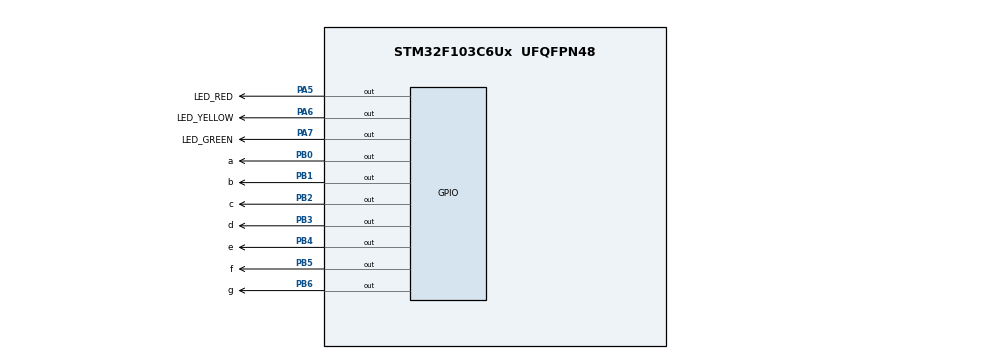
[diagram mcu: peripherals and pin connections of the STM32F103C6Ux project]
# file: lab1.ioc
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Mcu.Family=STM32F1
Mcu.Name=STM32F103C6Ux
Mcu.Package=UFQFPN48
NVIC.PriorityGroup=NVIC_PRIORITYGROUP_4
PA5.GPIO_Label=LED_RED
PA5.Signal=GPIO_Output
PA6.GPIO_Label=LED_YELLOW
PA6.Signal=GPIO_Output
PA7.GPIO_Label=LED_GREEN
PA7.Signal=GPIO_Output
PB0.GPIO_Label=a
PB0.Signal=GPIO_Output
PB1.GPIO_Label=b
PB1.Signal=GPIO_Output
PB2.GPIO_Label=c
PB2.Signal=GPIO_Output
PB3.GPIO_Label=d
PB3.Signal=GPIO_Output
PB4.GPIO_Label=e
PB4.Signal=GPIO_Output
PB5.GPIO_Label=f
PB5.Signal=GPIO_Output
PB6.GPIO_Label=g
PB6.Signal=GPIO_Output
ProjectManager.HeapSize=0x200
ProjectManager.StackSize=0x400
ProjectManager.TargetToolchain=STM32CubeIDE
RCC.APB1Freq_Value=8000000
RCC.APB2Freq_Value=8000000
VP_SYS_VS_ND.Mode=No_Debug
board=custom

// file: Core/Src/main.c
/* USER CODE BEGIN Header */
/**
  ******************************************************************************
  * @file           : main.c
  * @brief          : Main program body
  ******************************************************************************
  * @attention
  *
  * <h2><center>&copy; Copyright (c) 2022 STMicroelectronics.
  * All rights reserved.</center></h2>
  *
  * This software component is licensed by ST under BSD 3-Clause license,
  * the "License"; You may not use this file except in compliance with the
  * License. You may obtain a copy of the License at:
  *                        opensource.org/licenses/BSD-3-Clause
  *
  ******************************************************************************
  */
/* USER CODE END Header */
#include "main.h"

void SystemClock_Config(void);
static void MX_GPIO_Init(void);
/* USER CODE BEGIN PFP */
void display7SEG(int num);
/* USER CODE END PFP */

int main(void)
{

  /* MCU Configuration--------------------------------------------------------*/

  /* Reset of all peripherals, Initializes the Flash interface and the Systick. */
  HAL_Init();

  /* Configure the system clock */
  SystemClock_Config();

  /* Initialize all configured peripherals */
  MX_GPIO_Init();

  /* Infinite loop */
  /* USER CODE BEGIN WHILE */
  int counter = 0;
  while (1)
  {
    /* USER CODE END WHILE */

    /* USER CODE BEGIN 3 */
	  	HAL_GPIO_WritePin ( LED_RED_GPIO_Port , LED_RED_Pin , RESET);
	  	HAL_GPIO_WritePin ( LED_YELLOW_GPIO_Port , LED_YELLOW_Pin , SET ) ;
	  	HAL_GPIO_WritePin ( LED_GREEN_GPIO_Port , LED_GREEN_Pin , SET ) ;
	  	counter=5;
	  	while(counter>=0)
	  	{
	  		display7SEG(counter--);
	  		HAL_Delay(1000);
	  	}
	  	HAL_GPIO_WritePin ( LED_GREEN_GPIO_Port , LED_GREEN_Pin , RESET ) ;
	  	HAL_GPIO_WritePin ( LED_RED_GPIO_Port , LED_RED_Pin , SET ) ;
	  	counter=3;
	  	while(counter>=0)
	  	{
	  		display7SEG(counter--);
	  		HAL_Delay(1000);
	  	}
	  	HAL_GPIO_WritePin ( LED_YELLOW_GPIO_Port , LED_YELLOW_Pin , RESET ) ;
	  	HAL_GPIO_WritePin ( LED_GREEN_GPIO_Port , LED_GREEN_Pin , SET ) ;
	  	counter=2;
	  	while(counter>=0)
	  	{
	  	   	display7SEG(counter--);
	  	    HAL_Delay(1000);
	  	}
  }
  /* USER CODE END 3 */
}

void SystemClock_Config(void)
{
  RCC_OscInitTypeDef RCC_OscInitStruct = {0};
  RCC_ClkInitTypeDef RCC_ClkInitStruct = {0};

  /** Initializes the RCC Oscillators according to the specified parameters
  * in the RCC_OscInitTypeDef structure.
  */
  RCC_OscInitStruct.OscillatorType = RCC_OSCILLATORTYPE_HSI;
  RCC_OscInitStruct.HSIState = RCC_HSI_ON;
  RCC_OscInitStruct.HSICalibrationValue = RCC_HSICALIBRATION_DEFAULT;
  RCC_OscInitStruct.PLL.PLLState = RCC_PLL_NONE;
  if (HAL_RCC_OscConfig(&RCC_OscInitStruct) != HAL_OK)
  {
    Error_Handler();
  }
  /** Initializes the CPU, AHB and APB buses clocks
  */
  RCC_ClkInitStruct.ClockType = RCC_CLOCKTYPE_HCLK|RCC_CLOCKTYPE_SYSCLK
                              |RCC_CLOCKTYPE_PCLK1|RCC_CLOCKTYPE_PCLK2;
  RCC_ClkInitStruct.SYSCLKSource = RCC_SYSCLKSOURCE_HSI;
  RCC_ClkInitStruct.AHBCLKDivider = RCC_SYSCLK_DIV1;
  RCC_ClkInitStruct.APB1CLKDivider = RCC_HCLK_DIV1;
  RCC_ClkInitStruct.APB2CLKDivider = RCC_HCLK_DIV1;

  if (HAL_RCC_ClockConfig(&RCC_ClkInitStruct, FLASH_LATENCY_0) != HAL_OK)
  {
    Error_Handler();
  }
}

static void MX_GPIO_Init(void)
{
  GPIO_InitTypeDef GPIO_InitStruct = {0};

  /* GPIO Ports Clock Enable */
  __HAL_RCC_GPIOA_CLK_ENABLE();
  __HAL_RCC_GPIOB_CLK_ENABLE();

  /*Configure GPIO pin Output Level */
  HAL_GPIO_WritePin(GPIOA, LED_RED_Pin|LED_YELLOW_Pin|LED_GREEN_Pin, GPIO_PIN_RESET);

  /*Configure GPIO pin Output Level */
  HAL_GPIO_WritePin(GPIOB, a_Pin|b_Pin|c_Pin|d_Pin
                          |e_Pin|f_Pin|g_Pin, GPIO_PIN_RESET);

  /*Configure GPIO pins : LED_RED_Pin LED_YELLOW_Pin LED_GREEN_Pin */
  GPIO_InitStruct.Pin = LED_RED_Pin|LED_YELLOW_Pin|LED_GREEN_Pin;
  GPIO_InitStruct.Mode = GPIO_MODE_OUTPUT_PP;
  GPIO_InitStruct.Pull = GPIO_NOPULL;
  GPIO_InitStruct.Speed = GPIO_SPEED_FREQ_LOW;
  HAL_GPIO_Init(GPIOA, &GPIO_InitStruct);

  /*Configure GPIO pins : a_Pin b_Pin c_Pin d_Pin
                           e_Pin f_Pin g_Pin */
  GPIO_InitStruct.Pin = a_Pin|b_Pin|c_Pin|d_Pin
                          |e_Pin|f_Pin|g_Pin;
  GPIO_InitStruct.Mode = GPIO_MODE_OUTPUT_PP;
  GPIO_InitStruct.Pull = GPIO_NOPULL;
  GPIO_InitStruct.Speed = GPIO_SPEED_FREQ_LOW;
  HAL_GPIO_Init(GPIOB, &GPIO_InitStruct);

}

/* USER CODE BEGIN 4 */
void display7SEG(int num)
{
	HAL_GPIO_WritePin(a_GPIO_Port, a_Pin, RESET);
	HAL_GPIO_WritePin(b_GPIO_Port, b_Pin, RESET);
	HAL_GPIO_WritePin(c_GPIO_Port, c_Pin, RESET);
	HAL_GPIO_WritePin(d_GPIO_Port, d_Pin, RESET);
	HAL_GPIO_WritePin(e_GPIO_Port, e_Pin, RESET);
	HAL_GPIO_WritePin(f_GPIO_Port, f_Pin, RESET);
	HAL_GPIO_WritePin(g_GPIO_Port, g_Pin, RESET);
	if(num==0)
	{
		HAL_GPIO_WritePin(g_GPIO_Port, g_Pin, SET);
	}
	if(num==1)
		{
			HAL_GPIO_WritePin(a_GPIO_Port, a_Pin, SET);
			HAL_GPIO_WritePin(d_GPIO_Port, d_Pin, SET);
			HAL_GPIO_WritePin(e_GPIO_Port, e_Pin, SET);
			HAL_GPIO_WritePin(f_GPIO_Port, f_Pin, SET);
			HAL_GPIO_WritePin(g_GPIO_Port, g_Pin, SET);
		}
	if(num==2)
		{
			HAL_GPIO_WritePin(c_GPIO_Port, c_Pin, SET);
			HAL_GPIO_WritePin(f_GPIO_Port, f_Pin, SET);
		}
	if(num==3)
		{
			HAL_GPIO_WritePin(e_GPIO_Port, e_Pin, SET);
			HAL_GPIO_WritePin(f_GPIO_Port, f_Pin, SET);
		}
	if(num==4)
		{
			HAL_GPIO_WritePin(a_GPIO_Port, a_Pin, SET);
			HAL_GPIO_WritePin(d_GPIO_Port, d_Pin, SET);
			HAL_GPIO_WritePin(e_GPIO_Port, e_Pin, SET);
		}
	if(num==5)
		{
			HAL_GPIO_WritePin(e_GPIO_Port, b_Pin, SET);
			HAL_GPIO_WritePin(b_GPIO_Port, e_Pin, SET);
		}
	if(num==6)
		{
			HAL_GPIO_WritePin(b_GPIO_Port, b_Pin, SET);
		}
	if(num==7)
		{
			HAL_GPIO_WritePin(d_GPIO_Port, d_Pin, SET);
			HAL_GPIO_WritePin(e_GPIO_Port, e_Pin, SET);
			HAL_GPIO_WritePin(f_GPIO_Port, f_Pin, SET);
			HAL_GPIO_WritePin(g_GPIO_Port, g_Pin, SET);
		}
	if(num==9)
		{
			HAL_GPIO_WritePin(e_GPIO_Port, e_Pin, SET);
		}
}
/* USER CODE END 4 */

void Error_Handler(void)
{
  __disable_irq();
  while (1)
  {
  }
}

/************************ (C) COPYRIGHT STMicroelectronics *****END OF FILE****/
